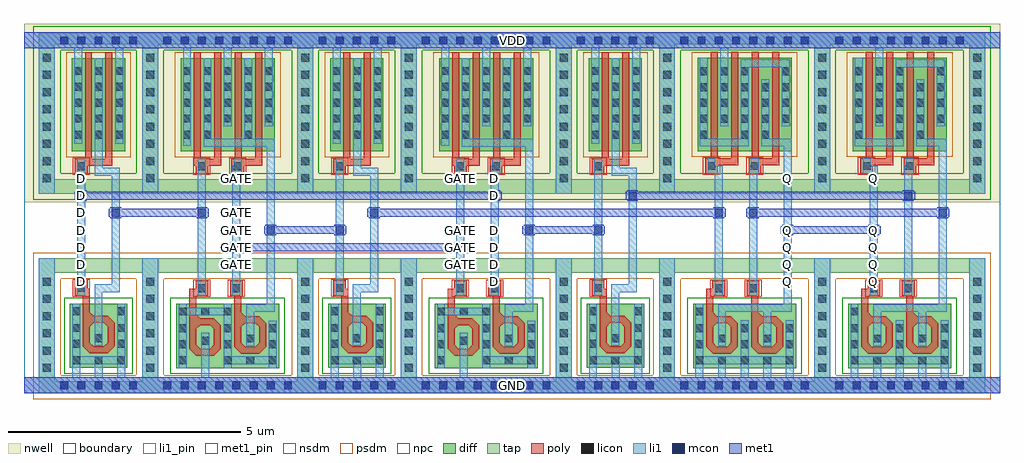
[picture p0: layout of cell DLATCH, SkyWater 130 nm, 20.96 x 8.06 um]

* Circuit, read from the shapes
.subckt DLATCH D GATE GND Q VDD
XM1 GND D n1 GND sky130_fd_pr__nfet_01v8 w=2.56 l=0.1473
XM2 n2 n1 GND GND sky130_fd_pr__nfet_01v8 w=2.6 l=0.147
XM3 n2 GATE n3 GND sky130_fd_pr__nfet_01v8 w=2.56 l=0.1478
XM4 GND n3 n4 GND sky130_fd_pr__nfet_01v8 w=2.56 l=0.1473
XM5 n5 GATE GND GND sky130_fd_pr__nfet_01v8 w=2.6 l=0.147
XM6 n5 D n6 GND sky130_fd_pr__nfet_01v8 w=2.56 l=0.1478
XM7 GND n6 n7 GND sky130_fd_pr__nfet_01v8 w=2.56 l=0.1473
XM8 GND n4 Q GND sky130_fd_pr__nfet_01v8 w=2.56 l=0.1456
XM9 GND n8 Q GND sky130_fd_pr__nfet_01v8 w=2.56 l=0.1471
XM10 GND Q n8 GND sky130_fd_pr__nfet_01v8 w=2.56 l=0.1456
XM11 GND n7 n8 GND sky130_fd_pr__nfet_01v8 w=2.56 l=0.1469
XM12 n1 D VDD VDD sky130_fd_pr__pfet_01v8 w=2 l=0.15 m=2
XM13 n3 n1 VDD VDD sky130_fd_pr__pfet_01v8 w=2 l=0.15 m=2
XM14 n3 GATE VDD VDD sky130_fd_pr__pfet_01v8 w=2 l=0.15 m=2
XM15 n4 n3 VDD VDD sky130_fd_pr__pfet_01v8 w=2 l=0.15 m=2
XM16 n6 GATE VDD VDD sky130_fd_pr__pfet_01v8 w=2 l=0.15 m=2
XM17 n6 D VDD VDD sky130_fd_pr__pfet_01v8 w=2 l=0.15 m=2
XM18 n7 n6 VDD VDD sky130_fd_pr__pfet_01v8 w=2 l=0.15 m=2
XM19 VDD n4 n9 VDD sky130_fd_pr__pfet_01v8 w=2 l=0.15 m=2
XM20 Q n8 n9 VDD sky130_fd_pr__pfet_01v8 w=2 l=0.15 m=2
XM21 VDD Q n10 VDD sky130_fd_pr__pfet_01v8 w=2 l=0.15 m=2
XM22 n8 n7 n10 VDD sky130_fd_pr__pfet_01v8 w=2 l=0.15 m=2
.ends

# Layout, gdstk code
from math import pi, radians
import gdstk
lib = gdstk.Library(unit=1e-6, precision=1e-09)
def R(c, l, rs):  # rectangles x0, y0, x1, y1
    for r in rs: c.add(gdstk.rectangle(r[:2], r[2:], *l))
def A(c, l, x, y, w, h, nx, ny, dx, dy):  # array of equal rectangles
    R(c, l, [(x+i*dx, y+j*dy, x+i*dx+w, y+j*dy+h) for i in range(nx) for j in range(ny)])
def P(c, l, *ps):  # polygons
    for p in ps: c.add(gdstk.Polygon(p, *l))
nwell = (64, 20)
diff = (65, 20)
tap = (65, 44)
poly = (66, 20)
licon = (66, 44)
li1_pin = (67, 16)
li1 = (67, 20)
mcon = (67, 44)
met1_pin = (68, 16)
met1 = (68, 20)
nsdm = (93, 44)
psdm = (94, 20)
npc = (95, 20)
boundary = (235, 4)

diff_ring_side = lib.new_cell('diff_ring_side')
R(diff_ring_side, nwell, [(-0.435,3.93,0.435,7.75)])
R(diff_ring_side, tap, [(-0.17,-0.17,0.17,2.72), (-0.17,4.11,0.17,7.57)])
A(diff_ring_side, licon, -0.085, 0.285, 0.17, 0.17, 1, 6, 0, 0.37)
A(diff_ring_side, licon, -0.085, 4.355, 0.17, 0.17, 1, 8, 0, 0.37)
R(diff_ring_side, li1, [(-0.17,-0.17,0.17,2.72), (-0.17,4.11,0.17,7.57)])
R(diff_ring_side, met1, [(-0.17,-0.17,0.17,0.17), (-0.17,7.23,0.17,7.57)])
R(diff_ring_side, nsdm, [(-0.295,3.985,0.295,7.695)])
R(diff_ring_side, psdm, [(-0.295,-0.295,0.295,2.845)])

nmos_bottom = lib.new_cell('nmos_bottom')
R(nmos_bottom, diff, [(0,0,1.24,1.38)])
R(nmos_bottom, poly, [(0.43,0.27,0.81,0.42), (0.28,0.42,0.43,0.925), (0.81,0.42,0.96,0.925), (0.43,0.925,0.96,1.075), (0.81,1.075,0.96,1.51)])
P(nmos_bottom, poly, [(0.73,1.075),(0.81,1.075),(0.81,1.155)],
  [(0.28,0.925),(0.43,0.925),(0.43,1.075)],
  [(0.43,0.845),(0.43,0.925),(0.51,0.925)],
  [(0.73,0.925),(0.81,0.925),(0.81,0.845)],
  [(0.43,0.5),(0.43,0.42),(0.51,0.42)],
  [(0.73,0.42),(0.81,0.42),(0.81,0.5)],
  [(0.28,0.42),(0.43,0.42),(0.43,0.27)],
  [(0.81,0.27),(0.81,0.42),(0.96,0.42)])
A(nmos_bottom, licon, 0.05, 1.13, 0.17, 0.17, 3, 1, 0.485, 0)
R(nmos_bottom, licon, [(0.05,0.08,0.22,0.25), (1.02,0.08,1.19,0.25), (0.05,0.43,0.22,0.6), (1.02,0.43,1.19,0.6), (0.535,0.505,0.705,0.675), (0.05,0.77,0.22,0.94), (1.02,0.77,1.19,0.94)])
R(nmos_bottom, li1, [(0.05,0,0.22,1.13), (1.02,0,1.19,1.13), (0.535,0.425,0.705,0.755), (0.05,1.13,1.19,1.3), (0.05,1.3,0.22,1.38), (1.02,1.3,1.19,1.38)])
R(nmos_bottom, nsdm, [(-0.125,-0.125,1.365,1.505)])

pmos2 = lib.new_cell('pmos2')
R(pmos2, nwell, [(0.26,-2.18,1.76,0.18)])
R(pmos2, diff, [(0.44,-2,1.58,0)])
R(pmos2, poly, [(0.72,-2.305,1.31,-2.155), (0.72,-2.155,0.87,0.13), (1.16,-2.155,1.31,0.13)])
A(pmos2, licon, 0.49, -1.38, 0.17, 0.17, 3, 4, 0.44, 0.34)
R(pmos2, li1, [(0.49,-1.465,0.66,0.21), (0.93,-1.465,1.1,0), (1.37,-1.465,1.54,0.21)])
R(pmos2, psdm, [(0.315,-2.125,1.705,0.125)])

poly_li1_contact = lib.new_cell('poly_li1_contact')
R(poly_li1_contact, poly, [(-0.16,-0.14,0.17,0.13)])
R(poly_li1_contact, licon, [(-0.08,-0.09,0.09,0.08)])
R(poly_li1_contact, li1, [(-0.16,-0.09,0.17,0.08)])
R(poly_li1_contact, npc, [(-0.18,-0.19,0.19,0.18)])

nmos_top_trim1 = lib.new_cell('nmos_top_trim1')
R(nmos_top_trim1, diff, [(0,0,1.24,1.38)])
R(nmos_top_trim1, poly, [(0.43,0.31,0.81,0.46), (0.28,0.46,0.43,0.965), (0.81,0.46,0.96,0.965), (0.43,0.965,0.96,1.115), (0.81,1.115,0.96,1.545)])
P(nmos_top_trim1, poly, [(0.73,1.115),(0.81,1.115),(0.81,1.195)],
  [(0.28,0.965),(0.43,0.965),(0.43,1.115)],
  [(0.43,0.885),(0.43,0.965),(0.51,0.965)],
  [(0.73,0.965),(0.81,0.965),(0.81,0.885)],
  [(0.43,0.54),(0.43,0.46),(0.51,0.46)],
  [(0.73,0.46),(0.81,0.46),(0.81,0.54)],
  [(0.28,0.46),(0.43,0.46),(0.43,0.31)],
  [(0.81,0.31),(0.81,0.46),(0.96,0.46)])
A(nmos_top_trim1, licon, 0.05, 0.08, 0.17, 0.17, 3, 1, 0.485, 0)
R(nmos_top_trim1, licon, [(0.05,0.43,0.22,0.6), (1.02,0.43,1.19,0.6), (0.535,0.55,0.705,0.72), (0.05,0.77,0.22,0.94), (1.02,0.77,1.19,0.94), (1.02,1.13,1.19,1.3)])
R(nmos_top_trim1, li1, [(0.05,0,0.22,0.08), (1.02,0,1.19,0.08), (0.05,0.08,1.19,0.25), (0.05,0.25,0.22,1.02), (1.02,0.25,1.19,1.38), (0.535,0.47,0.705,0.805)])
R(nmos_top_trim1, nsdm, [(-0.125,-0.125,1.365,1.505)])

nand2x1_pcell = lib.new_cell('nand2x1_pcell')
R(nand2x1_pcell, nwell, [(0.435,3.93,2.895,7.75)])
R(nand2x1_pcell, diff, [(0.705,5.295,0.875,5.465), (1.145,5.295,1.315,5.465), (2.025,5.295,2.195,5.465)])
R(nand2x1_pcell, tap, [(0.17,-0.17,3.16,-0.15), (0.155,-0.15,3.175,0.085), (0.155,2.4,0.17,2.41), (3.16,2.4,3.175,2.41), (0.155,2.41,3.175,2.71), (0.17,2.71,3.16,2.72), (0.17,4.11,3.16,4.42), (0.17,7.315,3.16,7.57)])
R(nand2x1_pcell, poly, [(0.84,1.875,0.99,2.065), (1.81,1.91,1.96,1.915)])
A(nand2x1_pcell, licon, 0.285, -0.085, 0.17, 0.17, 8, 2, 0.37, 7.4)
R(nand2x1_pcell, licon, [(0.705,5.295,0.875,5.465), (1.145,5.295,1.315,5.465), (2.025,5.295,2.195,5.465)])
R(nand2x1_pcell, li1, [(0.17,-0.17,3.16,-0.15), (0.155,-0.15,3.175,0.16), (0.17,0.16,3.16,0.17), (1.095,0.17,1.265,0.835), (2.065,1.165,2.235,1.57), (2.065,1.57,2.675,1.74), (2.505,1.74,2.675,5.115), (1.025,2.165,1.195,4.54), (1.765,2.165,1.785,2.205), (1.765,2.205,1.935,4.54), (1.765,4.54,1.805,4.71), (1.145,5.115,2.675,5.285), (0.705,5.135,0.875,5.555), (1.145,5.285,1.315,5.555), (2.025,5.285,2.195,5.555), (0.17,7.23,3.16,7.57)])
A(nand2x1_pcell, mcon, 0.285, -0.085, 0.17, 0.17, 8, 2, 0.37, 7.4)
R(nand2x1_pcell, met1, [(0.17,-0.17,3.16,-0.15), (0.155,-0.15,3.175,0.16), (0.17,0.16,3.16,0.17), (0.17,7.23,3.16,7.57)])
R(nand2x1_pcell, nsdm, [(0.045,3.985,3.285,4.545), (0.045,7.19,3.285,7.695)])
R(nand2x1_pcell, psdm, [(0.045,-0.295,3.285,-0.275), (0.03,-0.275,3.3,0.21), (0.03,2.275,0.295,2.285), (3.035,2.275,3.3,2.285), (0.03,2.285,3.3,2.835), (0.045,2.835,3.285,2.845), (0.58,5.17,1.44,5.59), (1.9,5.17,2.32,5.59)])
nand2x1_pcell.add(gdstk.Reference(diff_ring_side, (0,0)))
nand2x1_pcell.add(gdstk.Reference(nmos_bottom, (1.8,0.365), rotation=pi, x_reflection=True))
nand2x1_pcell.add(gdstk.Reference(pmos2, (0.215,7.02)))
nand2x1_pcell.add(gdstk.Reference(poly_li1_contact, (1.115,4.705), rotation=3*pi/2))
nand2x1_pcell.add(gdstk.Reference(poly_li1_contact, (1.115,2.085), rotation=3*pi/2))
nand2x1_pcell.add(gdstk.Reference(nmos_top_trim1, (2.77,0.365), rotation=pi, x_reflection=True))
nand2x1_pcell.add(gdstk.Reference(pmos2, (1.095,7.02)))
nand2x1_pcell.add(gdstk.Reference(poly_li1_contact, (1.845,2.075), rotation=pi/2))
nand2x1_pcell.add(gdstk.Reference(poly_li1_contact, (1.885,4.705), rotation=3*pi/2))
nand2x1_pcell.add(gdstk.Reference(diff_ring_side, (3.33,0)))

li1_m1_contact = lib.new_cell('li1_M1_contact')
R(li1_m1_contact, li1, [(-0.085,-0.165,0.085,0.165)])
R(li1_m1_contact, mcon, [(-0.085,-0.085,0.085,0.085)])
R(li1_m1_contact, met1, [(-0.115,-0.115,0.115,-0.085), (-0.265,-0.085,0.145,0.085), (-0.115,0.085,0.115,0.115)])

nmos_top = lib.new_cell('nmos_top')
R(nmos_top, diff, [(0,0,1.23,1.38)])
R(nmos_top, poly, [(0.42,0.31,0.8,0.46), (0.27,0.46,0.42,0.965), (0.8,0.46,0.95,0.965), (0.42,0.965,0.95,1.115), (0.8,1.115,0.95,1.54)])
P(nmos_top, poly, [(0.72,1.115),(0.8,1.115),(0.8,1.195)],
  [(0.27,0.965),(0.42,0.965),(0.42,1.115)],
  [(0.42,0.885),(0.42,0.965),(0.5,0.965)],
  [(0.72,0.965),(0.8,0.965),(0.8,0.885)],
  [(0.42,0.54),(0.42,0.46),(0.5,0.46)],
  [(0.72,0.46),(0.8,0.46),(0.8,0.54)],
  [(0.27,0.46),(0.42,0.46),(0.42,0.31)],
  [(0.8,0.31),(0.8,0.46),(0.95,0.46)])
R(nmos_top, licon, [(0.04,0.08,0.21,0.25), (0.53,0.08,0.7,0.25), (1.01,0.08,1.18,0.25), (0.04,0.43,0.21,0.6), (1.01,0.43,1.18,0.6), (0.53,0.55,0.7,0.72), (0.04,0.77,0.21,0.94), (1.01,0.77,1.18,0.94), (0.04,1.13,0.21,1.3), (1.01,1.13,1.18,1.3)])
R(nmos_top, li1, [(0.04,0,0.21,0.08), (1.01,0,1.18,0.08), (0.04,0.08,1.18,0.25), (0.04,0.25,0.21,1.38), (1.01,0.25,1.18,1.38), (0.53,0.47,0.7,0.805)])
R(nmos_top, nsdm, [(-0.125,-0.125,1.355,1.505)])

invx1_pcell = lib.new_cell('invx1_pcell')
R(invx1_pcell, nwell, [(-0.435,3.93,2.655,7.75)])
A(invx1_pcell, diff, 0.59, 5.295, 0.17, 0.17, 3, 1, 0.44, 0)
R(invx1_pcell, tap, [(0.17,-0.17,2.05,0.085), (0.17,2.41,2.05,2.72), (0.17,4.11,2.05,4.42), (0.17,7.315,2.05,7.57)])
R(invx1_pcell, poly, [(0.775,1.905,0.925,2.065)])
A(invx1_pcell, licon, 0.285, -0.085, 0.17, 0.17, 5, 2, 0.37, 7.4)
A(invx1_pcell, licon, 0.59, 5.295, 0.17, 0.17, 3, 1, 0.44, 0)
R(invx1_pcell, li1, [(0.17,-0.17,2.05,0.17), (0.545,0.17,0.715,0.45), (1.03,0.17,1.2,0.455), (1.515,0.17,1.685,0.45), (1.025,1.165,1.195,1.995), (1.025,1.995,1.565,2.165), (1.395,2.165,1.565,4.495), (0.655,2.245,0.825,4.54), (1.03,4.495,1.565,4.665), (1.03,4.665,1.2,5.555), (0.59,5.185,0.76,5.555), (1.47,5.185,1.64,5.555), (0.17,7.23,2.05,7.57)])
A(invx1_pcell, mcon, 0.285, -0.085, 0.17, 0.17, 5, 2, 0.37, 7.4)
R(invx1_pcell, met1, [(0.17,-0.17,2.05,0.17), (0.17,7.23,2.05,7.57)])
R(invx1_pcell, nsdm, [(0.045,3.985,2.175,4.545), (0.045,7.19,2.175,7.695)])
R(invx1_pcell, psdm, [(0.045,-0.295,2.175,0.21), (0.045,2.285,2.175,2.845), (0.465,5.17,1.765,5.59)])
invx1_pcell.add(gdstk.Reference(poly_li1_contact, (0.735,2.08), rotation=pi/2))
invx1_pcell.add(gdstk.Reference(poly_li1_contact, (0.745,4.705), rotation=3*pi/2))
invx1_pcell.add(gdstk.Reference(pmos2, (0.1,7.02)))
invx1_pcell.add(gdstk.Reference(nmos_top, (1.725,0.37), rotation=pi, x_reflection=True))
invx1_pcell.add(gdstk.Reference(diff_ring_side, (0,0)))
invx1_pcell.add(gdstk.Reference(diff_ring_side, (2.22,0)))

and2x1_pcell = lib.new_cell('and2x1_pcell')
R(and2x1_pcell, met1, [(2.735,3.245,3.805,3.415)])
and2x1_pcell.add(gdstk.Reference(nand2x1_pcell, (0,0)))
and2x1_pcell.add(gdstk.Reference(li1_m1_contact, (4.07,3.33)))
and2x1_pcell.add(gdstk.Reference(li1_m1_contact, (2.59,3.33), rotation=pi))
and2x1_pcell.add(gdstk.Reference(invx1_pcell, (3.33,0)))

pmos2_1 = lib.new_cell('pmos2_1')
R(pmos2_1, nwell, [(0.26,-2.175,1.76,0.185)])
R(pmos2_1, diff, [(0.44,-1.995,1.58,0.005)])
R(pmos2_1, poly, [(0.72,-2.3,1.31,-2.15), (0.72,-2.15,0.87,0.135), (1.16,-2.15,1.31,0.135)])
A(pmos2_1, licon, 0.49, -1.385, 0.17, 0.17, 3, 3, 0.44, 0.34)
A(pmos2_1, li1, 0.49, -1.465, 0.17, 1.01, 3, 1, 0.44, 0)
R(pmos2_1, psdm, [(0.315,-2.12,1.705,0.13)])

nmos_top_trim2 = lib.new_cell('nmos_top_trim2')
R(nmos_top_trim2, diff, [(0,0,1.24,1.38)])
R(nmos_top_trim2, poly, [(0.43,0.31,0.81,0.46), (0.28,0.46,0.43,0.89), (0.81,0.46,0.96,0.89), (0.28,0.89,0.435,0.965), (0.805,0.89,0.96,0.965), (0.43,0.965,0.96,1.115), (0.81,1.115,0.96,1.545)])
P(nmos_top_trim2, poly, [(0.73,1.115),(0.81,1.115),(0.81,1.195)],
  [(0.28,0.965),(0.43,0.965),(0.43,1.115)],
  [(0.435,0.89),(0.435,0.965),(0.51,0.965)],
  [(0.73,0.965),(0.805,0.965),(0.805,0.89)],
  [(0.43,0.54),(0.43,0.46),(0.51,0.46)],
  [(0.73,0.46),(0.81,0.46),(0.81,0.54)],
  [(0.28,0.46),(0.43,0.46),(0.43,0.31)],
  [(0.81,0.31),(0.81,0.46),(0.96,0.46)])
A(nmos_top_trim2, licon, 0.05, 0.08, 0.17, 0.17, 3, 1, 0.485, 0)
R(nmos_top_trim2, licon, [(0.05,0.43,0.22,0.6), (1.02,0.43,1.19,0.6), (0.535,0.55,0.705,0.72), (0.05,0.77,0.22,0.94), (1.02,0.77,1.19,0.94)])
R(nmos_top_trim2, li1, [(0.05,0,0.22,0.08), (1.02,0,1.19,0.08), (0.05,0.08,1.19,0.25), (0.05,0.25,0.22,1.025), (1.02,0.25,1.19,1.025), (0.535,0.47,0.705,0.805)])
R(nmos_top_trim2, nsdm, [(-0.125,-0.125,1.365,1.505)])

nor2x1_pcell = lib.new_cell('nor2x1_pcell')
R(nor2x1_pcell, nwell, [(0.435,3.93,2.895,7.75)])
A(nor2x1_pcell, diff, 0.705, 6.655, 0.17, 0.17, 3, 1, 0.44, 0)
R(nor2x1_pcell, diff, [(0.705,5.295,0.875,5.465), (1.585,5.295,1.755,5.465), (2.025,5.295,2.195,5.465), (2.465,6.655,2.635,6.825)])
R(nor2x1_pcell, tap, [(0.17,-0.17,3.16,0.085), (0.17,2.41,3.16,2.72), (0.17,4.11,3.16,4.42), (0.17,7.315,3.16,7.57)])
R(nor2x1_pcell, poly, [(0.84,1.875,0.99,2.065), (1.81,1.91,1.96,1.915)])
A(nor2x1_pcell, licon, 0.285, -0.085, 0.17, 0.17, 8, 2, 0.37, 7.4)
A(nor2x1_pcell, licon, 0.705, 6.655, 0.17, 0.17, 3, 1, 0.44, 0)
R(nor2x1_pcell, licon, [(0.705,5.295,0.875,5.465), (1.585,5.295,1.755,5.465), (2.025,5.295,2.195,5.465), (2.465,6.655,2.635,6.825)])
A(nor2x1_pcell, li1, 0.61, 0.17, 0.17, 0.195, 3, 1, 0.97, 0)
R(nor2x1_pcell, li1, [(0.17,-0.17,3.16,0.17), (1.095,0.17,1.265,0.445), (2.065,0.17,2.235,0.445), (1.095,1.165,1.265,1.57), (2.065,1.165,2.235,1.57), (1.095,1.57,2.675,1.74), (2.505,1.74,2.675,5.125), (1.025,2.165,1.195,4.71), (1.765,2.165,1.785,2.205), (1.765,2.205,1.935,4.54), (1.765,4.54,1.805,4.71), (0.705,5.125,1.755,5.295), (2.025,5.125,2.675,5.295), (0.705,5.295,0.875,5.555), (1.585,5.295,1.755,5.555), (2.025,5.295,2.195,5.555), (0.705,6.565,0.875,7.025), (1.145,6.565,1.315,7.23), (1.585,6.565,1.755,6.825), (2.465,6.565,2.635,6.825), (1.585,6.825,2.635,6.995), (0.17,7.23,3.16,7.57)])
A(nor2x1_pcell, mcon, 0.285, -0.085, 0.17, 0.17, 8, 2, 0.37, 7.4)
R(nor2x1_pcell, met1, [(0.17,-0.17,3.16,0.17), (0.17,7.23,3.16,7.57)])
R(nor2x1_pcell, nsdm, [(0.045,3.985,3.285,4.545), (0.045,7.19,3.285,7.695)])
R(nor2x1_pcell, psdm, [(0.045,-0.295,3.285,0.21), (0.045,2.285,3.285,2.845), (0.58,5.17,1,5.59), (1.46,5.17,2.32,5.59), (0.58,6.53,1.88,6.95), (2.34,6.53,2.76,6.95)])
nor2x1_pcell.add(gdstk.Reference(diff_ring_side, (0,0)))
nor2x1_pcell.add(gdstk.Reference(nmos_top_trim1, (1.8,0.365), rotation=pi, x_reflection=True))
nor2x1_pcell.add(gdstk.Reference(pmos2_1, (0.215,7.02)))
nor2x1_pcell.add(gdstk.Reference(poly_li1_contact, (0.96,4.71), rotation=3*pi/2))
nor2x1_pcell.add(gdstk.Reference(poly_li1_contact, (1.115,2.085), rotation=3*pi/2))
nor2x1_pcell.add(gdstk.Reference(nmos_top_trim2, (2.77,0.365), rotation=pi, x_reflection=True))
nor2x1_pcell.add(gdstk.Reference(pmos2_1, (1.095,7.02)))
nor2x1_pcell.add(gdstk.Reference(poly_li1_contact, (1.845,2.075), rotation=pi/2))
nor2x1_pcell.add(gdstk.Reference(poly_li1_contact, (1.89,4.71), rotation=3*pi/2))
nor2x1_pcell.add(gdstk.Reference(diff_ring_side, (3.33,0)))

dlatch = lib.new_cell('DLATCH')
R(dlatch, nwell, [(0,4.11,20.96,7.94)])
R(dlatch, tap, [(0.32,0,20.64,0.05), (0.32,7.75,20.64,7.76)])
A(dlatch, li1_pin, 1.145, 2.315, 0.17, 0.17, 1, 7, 0, 0.37)
A(dlatch, li1_pin, 10.025, 2.315, 0.17, 0.17, 1, 4, 0, 0.37)
A(dlatch, li1_pin, 16.315, 2.315, 0.17, 0.17, 1, 4, 0, 0.37)
A(dlatch, li1_pin, 18.165, 2.315, 0.17, 0.17, 1, 4, 0, 0.37)
A(dlatch, li1_pin, 4.475, 2.685, 0.17, 0.17, 1, 4, 0, 0.37)
A(dlatch, li1_pin, 9.285, 2.685, 0.17, 0.17, 1, 3, 0, 0.37)
R(dlatch, li1_pin, [(10.025,4.165,10.195,4.335), (4.475,4.535,4.645,4.705), (9.285,4.535,9.455,4.705), (10.025,4.535,10.195,4.705), (16.315,4.535,16.485,4.705), (18.165,4.535,18.335,4.705)])
A(dlatch, li1, 1.145, 2.315, 0.17, 0.17, 1, 7, 0, 0.37)
A(dlatch, li1, 10.025, 2.315, 0.17, 0.17, 1, 4, 0, 0.37)
A(dlatch, li1, 16.315, 2.315, 0.17, 0.17, 1, 4, 0, 0.37)
A(dlatch, li1, 18.165, 2.315, 0.17, 0.17, 1, 4, 0, 0.37)
A(dlatch, li1, 4.475, 2.685, 0.17, 0.17, 1, 4, 0, 0.37)
A(dlatch, li1, 9.285, 2.685, 0.17, 0.17, 1, 3, 0, 0.37)
R(dlatch, li1, [(0,0,20.96,0.085), (0,0.085,0.345,0.35), (20.635,0.085,20.96,0.35), (10.025,4.165,10.195,4.335), (4.475,4.535,4.645,4.705), (9.285,4.535,9.455,4.705), (10.025,4.535,10.195,4.705), (16.315,4.535,16.485,4.705), (18.165,4.535,18.335,4.705), (0,7.41,20.96,7.76)])
R(dlatch, met1_pin, [(0,0,20.96,0.35), (0,7.41,20.96,7.76)])
R(dlatch, met1, [(0,0,20.96,0.35), (4.825,3.055,9.105,3.225), (16.665,3.425,17.985,3.595), (2.235,3.795,3.555,3.965), (7.785,3.795,14.655,3.965), (15.925,3.795,19.465,3.965), (1.495,4.165,9.845,4.335), (13.335,4.165,18.725,4.335), (0,7.41,20.96,7.76)])
R(dlatch, nsdm, [(0.195,7.625,20.765,7.885)])
R(dlatch, psdm, [(0.195,-0.125,20.765,0.175)])
R(dlatch, boundary, [(0,0,20.96,7.76)])
dlatch.add(gdstk.Reference(and2x1_pcell, (2.71,0.18)))
dlatch.add(gdstk.Reference(invx1_pcell, (0.49,0.18)))
dlatch.add(gdstk.Reference(li1_m1_contact, (4.56,3.14), rotation=pi))
dlatch.add(gdstk.Reference(li1_m1_contact, (1.23,4.25), rotation=pi))
dlatch.add(gdstk.Reference(li1_m1_contact, (1.97,3.88), rotation=pi))
dlatch.add(gdstk.Reference(li1_m1_contact, (3.82,3.88)))
dlatch.add(gdstk.Reference(and2x1_pcell, (8.26,0.18)))
dlatch.add(gdstk.Reference(li1_m1_contact, (9.37,3.14)))
dlatch.add(gdstk.Reference(li1_m1_contact, (10.11,4.25)))
dlatch.add(gdstk.Reference(li1_m1_contact, (7.52,3.88), rotation=pi))
dlatch.add(gdstk.Reference(li1_m1_contact, (14.92,3.88)))
dlatch.add(gdstk.Reference(li1_m1_contact, (18.99,4.25)))
dlatch.add(gdstk.Reference(li1_m1_contact, (13.07,4.25), rotation=pi))
dlatch.add(gdstk.Reference(li1_m1_contact, (15.66,3.88), rotation=pi))
dlatch.add(gdstk.Reference(li1_m1_contact, (18.25,3.51)))
dlatch.add(gdstk.Reference(li1_m1_contact, (16.4,3.51), rotation=pi))
dlatch.add(gdstk.Reference(nor2x1_pcell, (13.81,0.18)))
dlatch.add(gdstk.Reference(nor2x1_pcell, (17.14,0.18)))
dlatch.add(gdstk.Reference(li1_m1_contact, (19.73,3.88)))
dlatch.add(gdstk.Label('Q', (18.25,4.62), layer=67, texttype=5))
dlatch.add(gdstk.Label('Q', (18.25,3.51), layer=67, texttype=5))
dlatch.add(gdstk.Label('Q', (18.25,3.14), layer=67, texttype=5))
dlatch.add(gdstk.Label('Q', (18.25,2.77), layer=67, texttype=5))
dlatch.add(gdstk.Label('Q', (18.25,2.4), layer=67, texttype=5))
dlatch.add(gdstk.Label('Q', (16.4,4.62), layer=67, texttype=5))
dlatch.add(gdstk.Label('Q', (16.4,2.4), layer=67, texttype=5))
dlatch.add(gdstk.Label('Q', (16.4,2.77), layer=67, texttype=5))
dlatch.add(gdstk.Label('Q', (16.4,3.14), layer=67, texttype=5))
dlatch.add(gdstk.Label('Q', (16.4,3.51), layer=67, texttype=5))
dlatch.add(gdstk.Label('D', (10.11,4.62), layer=67, texttype=5))
dlatch.add(gdstk.Label('D', (10.11,4.25), layer=67, texttype=5))
dlatch.add(gdstk.Label('D', (10.11,3.51), layer=67, texttype=5))
dlatch.add(gdstk.Label('D', (10.11,3.14), layer=67, texttype=5))
dlatch.add(gdstk.Label('D', (10.11,2.77), layer=67, texttype=5))
dlatch.add(gdstk.Label('D', (10.11,2.4), layer=67, texttype=5))
dlatch.add(gdstk.Label('D', (1.23,2.4), layer=67, texttype=5))
dlatch.add(gdstk.Label('D', (1.23,2.77), layer=67, texttype=5))
dlatch.add(gdstk.Label('D', (1.23,3.14), layer=67, texttype=5))
dlatch.add(gdstk.Label('D', (1.23,3.51), layer=67, texttype=5))
dlatch.add(gdstk.Label('D', (1.23,3.88), layer=67, texttype=5))
dlatch.add(gdstk.Label('D', (1.23,4.62), layer=67, texttype=5))
dlatch.add(gdstk.Label('D', (1.23,4.25), layer=67, texttype=5))
dlatch.add(gdstk.Label('GATE', (9.37,4.62), layer=67, texttype=5))
dlatch.add(gdstk.Label('GATE', (9.37,3.51), layer=67, texttype=5))
dlatch.add(gdstk.Label('GATE', (9.37,3.14), layer=67, texttype=5))
dlatch.add(gdstk.Label('GATE', (9.37,2.77), layer=67, texttype=5))
dlatch.add(gdstk.Label('GATE', (4.56,4.62), layer=67, texttype=5))
dlatch.add(gdstk.Label('GATE', (4.56,3.88), layer=67, texttype=5))
dlatch.add(gdstk.Label('GATE', (4.56,3.51), layer=67, texttype=5))
dlatch.add(gdstk.Label('GATE', (4.56,2.77), layer=67, texttype=5))
dlatch.add(gdstk.Label('GATE', (4.56,3.14), layer=67, texttype=5))
dlatch.add(gdstk.Label('VDD', (10.48,7.585), layer=68, texttype=5))
dlatch.add(gdstk.Label('GND', (10.48,0.175), layer=68, texttype=5))

lib.write_gds('DLATCH.gds')
